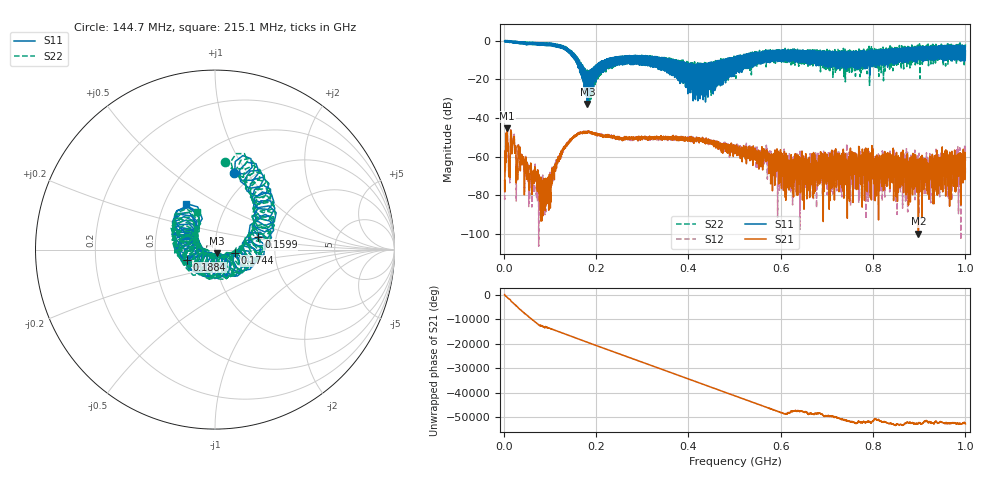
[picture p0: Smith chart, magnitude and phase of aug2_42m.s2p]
!Keysight Technologies N9923A: A.12.45
!Date: Saturday, 02 August 2025 19:57:11
!Timezone: (UTC+08:00) Kuala Lumpur, Singapore
!Model: N9923A
!Serial: MY61181427
!GPS Latitude:
!GPS Longitude:
!GPS TimeStamp: 0001-01-01 00:00:00Z
!GPS Seconds Since Last Read: 0
!CHECKSUM:0672669809
!Correction: S11(ON U)S21(ON U)S12(ON U)S22(ON U)
!S2P File: Measurements:S11,S21,S12,S22:
# Hz S DB R 50
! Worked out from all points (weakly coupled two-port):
!   4001 points, 2 MHz to 1 GHz, reference 50 ohm
!   highest |S21| = -45.23 dB at 7.739 MHz (marker M1); lowest = -99.9 dB at 898.2 MHz (marker M2)
!   lowest |S11| = -32.7 dB at 181.1 MHz (marker M3), VSWR 1.05, Z = 51 - j2.13 ohm
!   |S11| at or under -10 dB: 162.4 MHz to 218.5 MHz (56.15 MHz wide, 29.5 % of centre); 218.6 MHz to 220.1 MHz (1.472 MHz wide, 0.671 % of centre); 369.5 MHz to 473 MHz (103.5 MHz wide, 24.6 % of centre) (the widest 3 of 357)
!   |S22| runs from -31.6 to 0.1 dB; largest |S21 - S12| = 0.0027
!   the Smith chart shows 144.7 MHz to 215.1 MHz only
!   S11 on the Smith chart (normalised r, x): 144.7 MHz: 0.82, +0.88; 159.9 MHz: 1.61, +0.25; 174.4 MHz: 1.25, -0.04; 188.4 MHz: 0.73, -0.08; 215.1 MHz: 0.64, +0.36
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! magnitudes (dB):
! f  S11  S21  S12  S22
! 2 MHz  -0.1  -72.3  -81.4  -0.1
! 7.739 MHz  -0.5  -45.2  -45.6  -0.6
! 19.71 MHz  -0.6  -53.3  -52.7  -0.4
! 28.45 MHz  -0.3  -66.1  -63.9  -0.3
! 36.18 MHz  -1.4  -67.1  -64.3  -1.4
! 58.14 MHz  -1.5  -65.5  -66.9  -1.6
! 93.57 MHz  -1.5  -71.7  -79.2  -1.6
! 144.7 MHz  -7.1  -50.9  -50.8  -6.2
! 159.9 MHz  -12.0  -48.6  -48.6  -12.1
! 168.4 MHz  -14.9  -47.6  -47.3  -16.5
! 174.4 MHz  -19.0  -46.9  -47.3  -15.5
! 181.1 MHz  -32.7  -47.6  -47.0  -19.8
! 188.4 MHz  -15.7  -47.2  -47.4  -18.5
! 215.1 MHz  -10.4  -48.8  -49.0  -12.6
! 334.8 MHz  -12.4  -49.9  -51.6  -8.8
! 415.4 MHz  -30.4  -50.7  -50.8  -13.5
! 501 MHz  -11.6  -56.7  -56.2  -12.6
! 624.5 MHz  -8.4  -67.6  -61.6  -5.3
! 667.4 MHz  -5.7  -60.6  -73.4  -9.8
! 833.8 MHz  -5.3  -70.7  -66.1  -5.3
! 898.2 MHz  -3.8  -99.9  -66.4  -7.1
! 1 GHz  -5.2  -61.7  -64.6  -1.8
